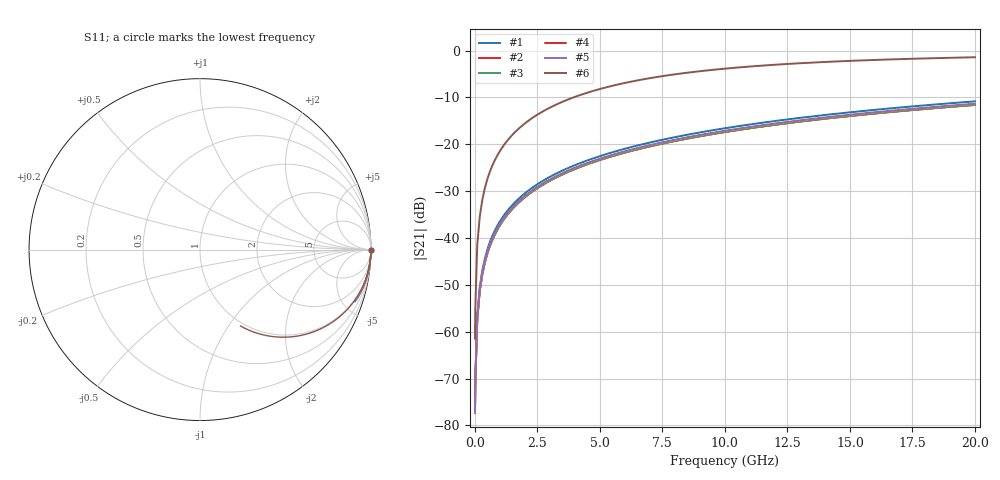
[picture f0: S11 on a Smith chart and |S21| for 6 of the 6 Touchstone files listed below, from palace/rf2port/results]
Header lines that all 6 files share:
#  GHZ S DB R 50
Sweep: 10 MHz to 20 GHz
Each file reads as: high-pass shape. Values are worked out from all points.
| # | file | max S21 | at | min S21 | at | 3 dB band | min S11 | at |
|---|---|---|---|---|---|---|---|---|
| 1 | cap_mom_double_04p9um.s2p | -10.83 dB | 20 GHz | -76.5 dB | 10 MHz | 13.9 GHz-20 GHz | -0.4 dB | 20 GHz |
| 2 | cap_mom_double_04p9um_rc018.s2p | -11.60 dB | 20 GHz | -77.3 dB | 10 MHz | 13.9 GHz-20 GHz | -0.3 dB | 20 GHz |
| 3 | cap_mom_double_04p9um_rc020.s2p | -11.58 dB | 20 GHz | -77.3 dB | 10 MHz | 13.9 GHz-20 GHz | -0.3 dB | 20 GHz |
| 4 | cap_mom_double_04p9um_rc025.s2p | -11.41 dB | 20 GHz | -77.1 dB | 10 MHz | 13.9 GHz-20 GHz | -0.3 dB | 20 GHz |
| 5 | cap_mom_double_04p9um_rc035.s2p | -11.34 dB | 20 GHz | -77.1 dB | 10 MHz | 13.9 GHz-20 GHz | -0.3 dB | 20 GHz |
| 6 | cap_mom_double_10p7um.s2p | -1.42 dB | 20 GHz | -61.5 dB | 10 MHz | 9 GHz-20 GHz | -5.9 dB | 20 GHz |
